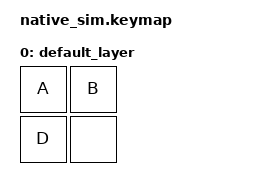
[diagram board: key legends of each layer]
#include <dt-bindings/zmk/keys.h>
#include <behaviors.dtsi>
#include <dt-bindings/zmk/kscan_mock.h>

/ {
    combos {
        compatible = "dax,runtime-combo-defaults";
        combo_one {
            timeout-ms = <30>;
            key-positions = <0 1>;
            bindings = <&kp C>;
            slow-release;
        };
    };

    keymap {
        compatible = "zmk,keymap";

        default_layer {
            bindings = <
                &kp A &kp B
                &kp D &none
            >;
        };
    };
};

&kscan {
    events = <
        ZMK_MOCK_PRESS(0,0,10)
        ZMK_MOCK_PRESS(0,1,10)
        ZMK_MOCK_RELEASE(0,0,10) /* this should not release the combo yet */
        ZMK_MOCK_PRESS(1,0,10)
        ZMK_MOCK_RELEASE(0,1,10)
        ZMK_MOCK_RELEASE(1,0,10)
    >;
};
